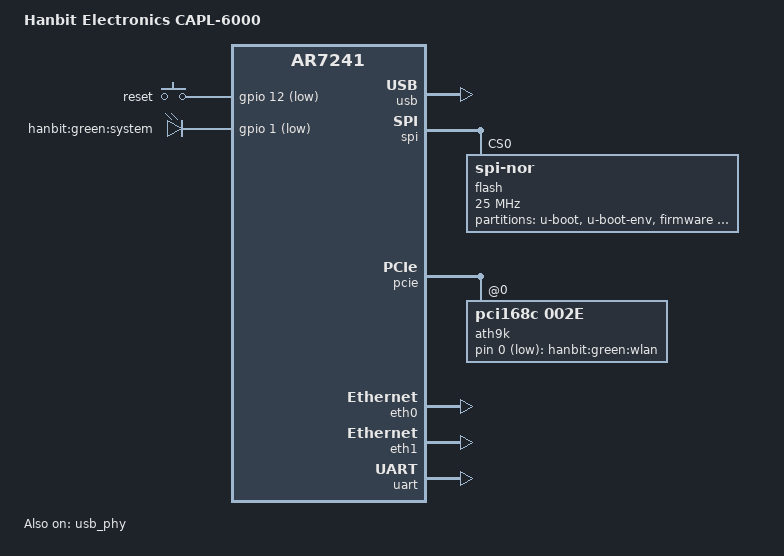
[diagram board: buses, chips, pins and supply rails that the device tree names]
// SPDX-License-Identifier: GPL-2.0-or-later OR MIT
/dts-v1/;

#include <dt-bindings/gpio/gpio.h>
#include <dt-bindings/input/input.h>

#include "ar7241.dtsi"

/ {
	compatible = "hanbit,capl-6000", "qca,ar7241";
	model = "Hanbit Electronics CAPL-6000";

	aliases {
		led-boot = &led_system;
		led-failsafe = &led_system;
		led-running = &led_system;
		led-upgrade = &led_system;
	};

	keys {
		compatible = "gpio-keys-polled";
		poll-interval = <20>;

		reset {
			label = "reset";
			linux,code = <KEY_RESTART>;
			gpios = <&gpio 12 GPIO_ACTIVE_LOW>;
			debounce-interval = <60>;
		};
	};

	gpio-leds {
		compatible = "gpio-leds";

		led_system: system {
			label = "hanbit:green:system";
			gpios = <&gpio 1 GPIO_ACTIVE_LOW>;
		};
	};

	ath9k-leds {
		compatible = "gpio-leds";

		wlan {
			label = "hanbit:green:wlan";
			gpios = <&ath9k 0 GPIO_ACTIVE_LOW>;
			linux,default-trigger = "phy0tpt";
		};
	};
};

&usb {
	#address-cells = <1>;
	#size-cells = <0>;
	status = "okay";

	hub_port: port@1 {
		reg = <1>;
		#trigger-source-cells = <0>;
	};
};

&usb_phy {
	status = "okay";
};

&spi {
	status = "okay";
	num-cs = <1>;

	flash@0 {
		compatible = "jedec,spi-nor";
		reg = <0>;
		spi-max-frequency = <25000000>;

		partitions {
			compatible = "fixed-partitions";
			#address-cells = <1>;
			#size-cells = <1>;

			partition@0 {
				label = "u-boot";
				reg = <0x000000 0x040000>;
				read-only;
			};

			partition@40000 {
				label = "u-boot-env";
				reg = <0x040000 0x010000>;
			};

			partition@50000 {
				compatible = "hanbit,firmware";
				label = "firmware";
				reg = <0x050000 0xee0000>;
			};

			partition@f30000 {
				label = "sysconf";
				reg = <0xf30000 0x0a0000>;
				read-only;
			};

			partition@fd0000 {
				label = "NVRAM";
				reg = <0xfd0000 0x020000>;
				read-only;
			};

			art: partition@ff0000 {
				label = "art";
				reg = <0xff0000 0x010000>;
				read-only;
			};
		};
	};
};

&pcie {
	status = "okay";

	ath9k: wifi@0,0 {
		compatible = "pci168c,002e";
		reg = <0x0000 0 0 0 0>;
		qca,no-eeprom;
		#gpio-cells = <2>;
		gpio-controller;
	};
};

&eth0 {
	status = "okay";

	mtd-mac-address = <&art 0x110c>;
	mtd-mac-address-increment = <1>;
};

&eth1 {
	status = "okay";

	mtd-mac-address = <&art 0x110c>;
};

&gpio {
	status = "okay";
};

&uart {
	status = "okay";
};
